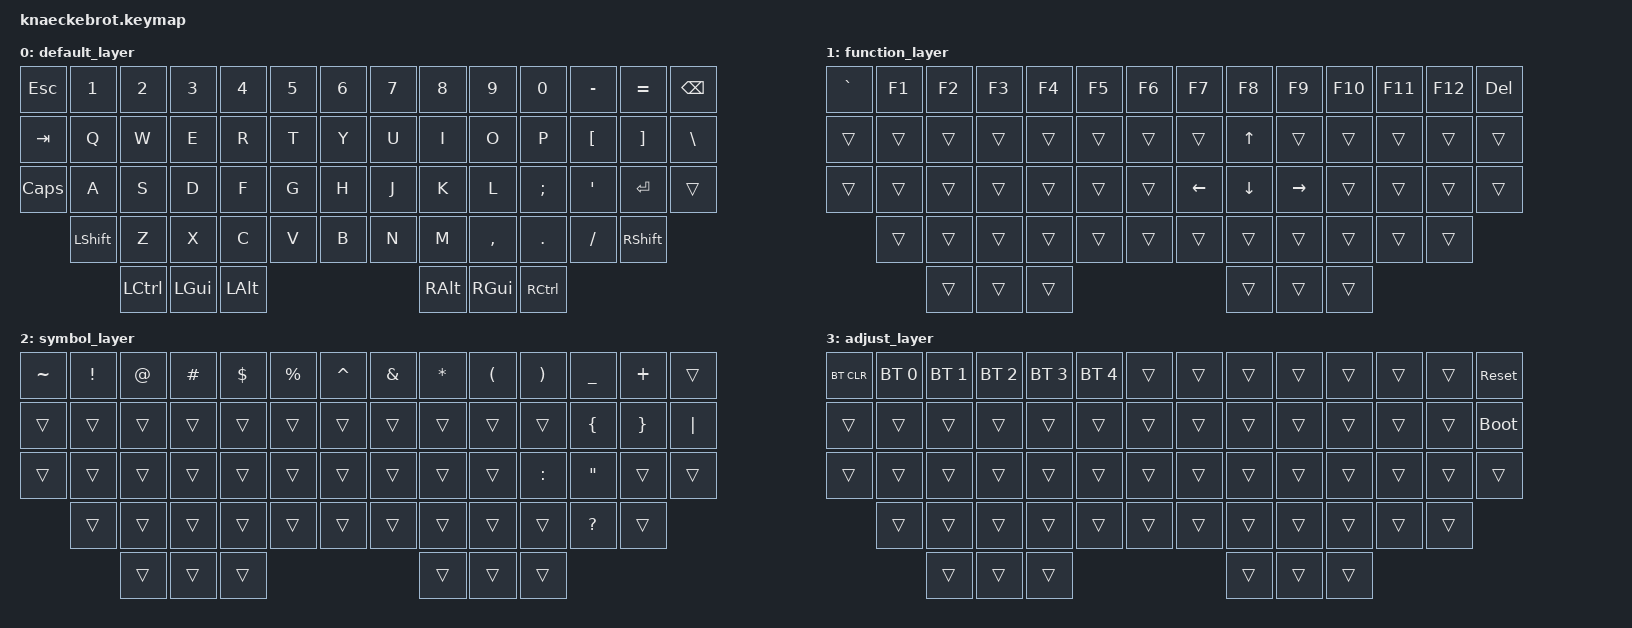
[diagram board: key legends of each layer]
#include <behaviors.dtsi>
#include <dt-bindings/zmk/keys.h>
#include <dt-bindings/zmk/bt.h>

/ {
    keymap {
        compatible = "zmk,keymap";

        default_layer {
            bindings = <
                &kp ESC   &kp N1 &kp N2 &kp N3 &kp N4 &kp N5 &kp N6   &kp N7 &kp N8 &kp N9 &kp N0    &kp MINUS &kp EQUAL &kp BSPC
                &kp TAB   &kp Q  &kp W  &kp E  &kp R  &kp T  &kp Y    &kp U  &kp I  &kp O  &kp P     &kp LBKT  &kp RBKT  &kp BSLH
                &kp CAPS  &kp A  &kp S  &kp D  &kp F  &kp G  &kp H    &kp J  &kp K  &kp L  &kp SEMI  &kp APOS  &kp RET   &trans
                          &kp LSHFT &kp Z &kp X &kp C &kp V &kp B      &kp N &kp M &kp COMMA &kp DOT &kp FSLH &kp RSHFT
                                   &kp LCTRL &kp LGUI &kp LALT               &kp RALT &kp RGUI &kp RCTRL
            >;
        };

        function_layer {
            bindings = <
                &kp GRAVE &kp F1 &kp F2 &kp F3 &kp F4 &kp F5 &kp F6   &kp F7 &kp F8 &kp F9 &kp F10 &kp F11 &kp F12 &kp DEL
                &trans    &trans &trans &trans &trans &trans &trans   &trans &kp UP &trans &trans  &trans  &trans  &trans
                &trans    &trans &trans &trans &trans &trans &trans   &kp LEFT &kp DOWN &kp RIGHT &trans &trans &trans &trans
                          &trans &trans &trans &trans &trans &trans   &trans &trans &trans &trans &trans &trans
                                 &trans &trans &trans                        &trans &trans &trans
            >;
        };

        symbol_layer {
            bindings = <
                &kp TILDE &kp EXCL &kp AT &kp HASH &kp DLLR &kp PRCNT &kp CARET &kp AMPS &kp ASTRK &kp LPAR &kp RPAR &kp UNDER &kp PLUS &trans
                &trans    &trans   &trans &trans   &trans   &trans    &trans    &trans   &trans    &trans   &trans   &kp LBRC  &kp RBRC &kp PIPE
                &trans    &trans   &trans &trans   &trans   &trans    &trans    &trans   &trans    &trans   &kp COLON &kp DQT  &trans   &trans
                          &trans   &trans &trans   &trans   &trans    &trans    &trans   &trans    &trans   &trans   &kp QMARK &trans
                                   &trans &trans   &trans                       &trans   &trans    &trans
            >;
        };

        adjust_layer {
            bindings = <
                &bt BT_CLR &bt BT_SEL 0 &bt BT_SEL 1 &bt BT_SEL 2 &bt BT_SEL 3 &bt BT_SEL 4 &trans &trans &trans &trans &trans &trans &trans &sys_reset
                &trans     &trans       &trans       &trans       &trans       &trans       &trans &trans &trans &trans &trans &trans &trans &bootloader
                &trans     &trans       &trans       &trans       &trans       &trans       &trans &trans &trans &trans &trans &trans &trans &trans
                           &trans       &trans       &trans       &trans       &trans       &trans &trans &trans &trans &trans &trans &trans
                                        &trans       &trans       &trans                           &trans &trans &trans
            >;
        };
    };
};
